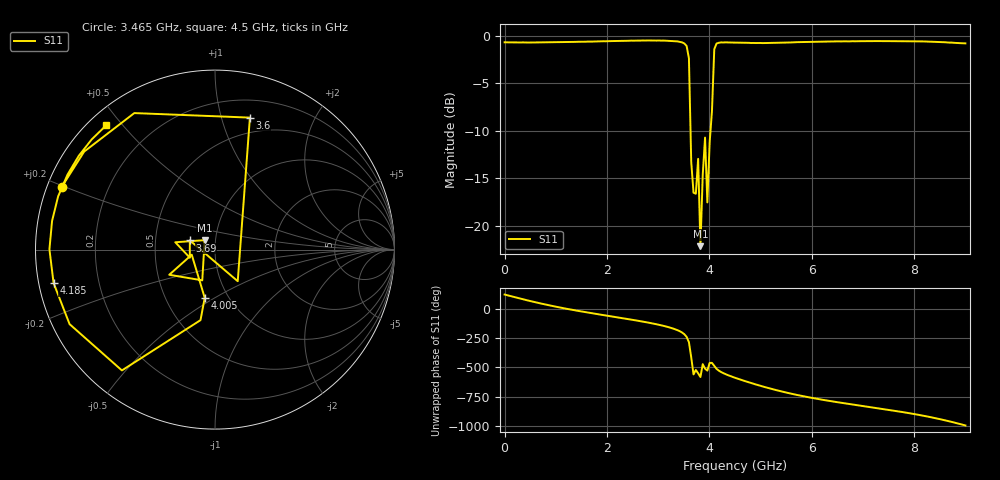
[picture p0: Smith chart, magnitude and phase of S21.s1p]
# Hz S RI R 50
! Date: 05/09/2024 11:50:55 am
! Freq  S11
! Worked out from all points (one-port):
!   201 points, 300 kHz to 9 GHz, reference 50 ohm
!   lowest |S11| = -22.2 dB at 3.825 GHz (marker M1), VSWR 1.17, Z = 44.3 + j4.69 ohm
!   |S11| at or under -10 dB: 3.632 GHz to 4.022 GHz (390.2 MHz wide, 10.2 % of centre)
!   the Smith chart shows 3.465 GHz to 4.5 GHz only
!   S11 on the Smith chart (normalised r, x): 3.465 GHz: 0.04, +0.20; 3.6 GHz: 0.35, +1.24; 3.69 GHz: 0.75, +0.08; 4.005 GHz: 0.78, -0.45; 4.185 GHz: 0.04, -0.10; 4.5 GHz: 0.05, +0.45
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300000  -0.4868 0.7849
4.952835e8  0.3613 0.8473
1.125262e9  0.9179 0.1185
2.250225e9  0.2241 -0.9114
2.880204e9  -0.5286 -0.7816
3.375188e9  -0.9334 0.0334
3.465184e9  -0.855 0.3474
3.555182e9  -0.4495 0.7606
3.60018e9  0.1945 0.7354
3.645178e9  0.1266 -0.176
3.690177e9  -0.1402 0.0512
3.780174e9  -0.2213 0.0409
3.825172e9  -0.0577 0.0526
3.91517e9  -0.2551 -0.1402
3.960168e9  -0.1296 -0.0286
4.005166e9  -0.0572 -0.2688
4.050165e9  -0.0808 -0.393
4.095164e9  -0.5186 -0.6731
4.18516e9  -0.8993 -0.1861
4.50015e9  -0.6063 0.6922
4.950135e9  0.3366 0.8523
5.265124e9  0.7921 0.4631
5.625112e9  0.9157 -0.1171
6.165094e9  0.5557 -0.7462
6.750075e9  -0.0658 -0.9318
7.875038e9  -0.9189 -0.1793
8.460018e9  -0.7321 0.5708
9e9  0.094 0.9067
